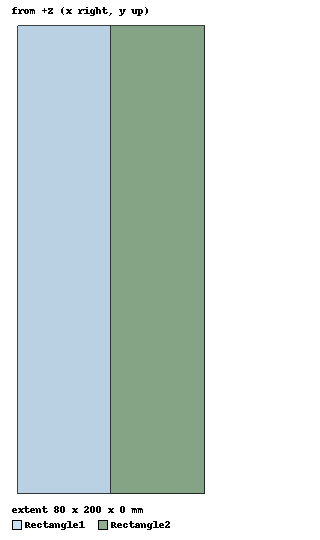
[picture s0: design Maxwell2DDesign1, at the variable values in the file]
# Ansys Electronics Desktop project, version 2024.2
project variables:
  $xpos = 0mm
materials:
  vacuum: permittivity=1
  copper: permeability=0.999991 conductivity=58000000
  diamond: permittivity=16.5

design Maxwell2DDesign1 (Maxwell 2D, Electrostatic, XY geometry, model units mm)
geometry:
  Rectangle1 [vacuum] = rectangle(corner=(-40mm, -100mm, 0mm), x_size=40mm, y_size=200mm)
  Rectangle2 [diamond] = rectangle(corner=(0mm, -100mm, 0mm), x_size=40mm, y_size=200mm)
  Polyline1 [non-model] = polyline((-40mm, 0mm, 0mm) (40mm, 0mm, 0mm))
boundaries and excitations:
  Symmetry1: Symmetry Edges=Rectangle1.edge(at (-20, 100, 0)) IsOdd=false
  Symmetry2: Symmetry Edges=Rectangle2.edge(at (20, 100, 0)) IsOdd=false
  Symmetry3: Symmetry Edges=Rectangle2.edge(at (20, -100, 0)) IsOdd=false
  Symmetry4: Symmetry Edges=Rectangle1.edge(at (-20, -100, 0)) IsOdd=false
  ChargeDensity1: Charge Density Objects=Rectangle1 Value=-1e-08
  ChargeDensity2: Charge Density Objects=Rectangle2 Value=-1e-08
  Voltage1: Voltage Edges=Rectangle1.edge(at (-40, 0, 0)) Value=1V
  Voltage2: Voltage Edges=Rectangle2.edge(at (40, 0, 0)) Value=0V
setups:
  Setup1: Electrostatic MaximumPasses=10 MinimumPasses=2 MinimumConvergedPasses=1 PercentRefinement=30 PercentError=1 NonLinearResidual=0.001
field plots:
  Voltage1: Voltage over Rectangle2 on Setup1 : LastAdaptive
  Voltage2: Voltage over Rectangle1 on Setup1 : LastAdaptive
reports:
  Calculator Expressions Plot 1: Voltage vs Distance on Setup1 : LastAdaptive
